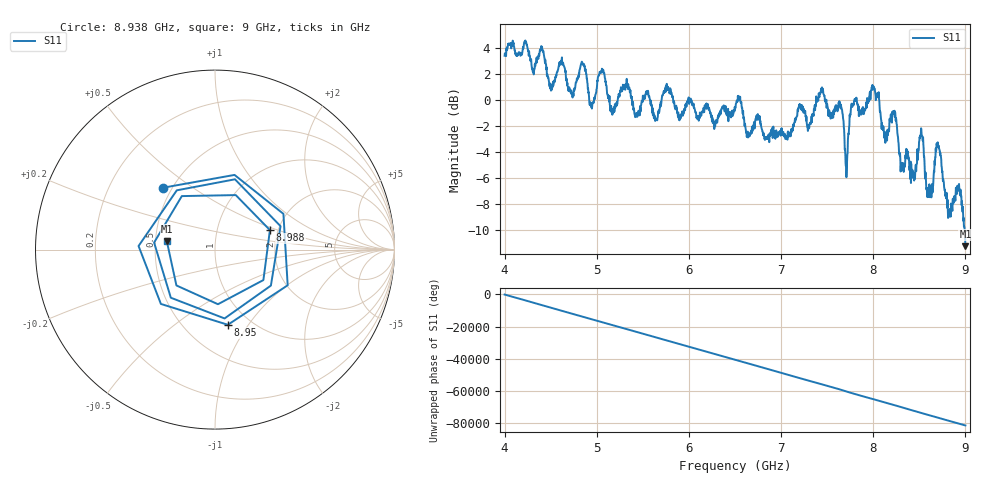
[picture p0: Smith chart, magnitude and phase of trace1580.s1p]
! Created with skrf 1.8.0 (http://scikit-rf.org).
# Hz S RI R 50.0
!freq ReS11 ImS11
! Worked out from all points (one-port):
!   1601 points, 4 GHz to 9 GHz, reference 50 ohm
!   lowest |S11| = -11.3 dB at 9 GHz (marker M1), VSWR 1.75, Z = 28.7 + j2.96 ohm
!   |S11| at or under -10 dB: 8.991498 GHz to end of sweep
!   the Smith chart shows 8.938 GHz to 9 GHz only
!   S11 on the Smith chart (normalised r, x): 8.938 GHz: 0.45, +0.39; 8.95 GHz: 0.79, -0.81; 8.988 GHz: 1.81, +0.44; 9 GHz: 0.57, +0.06
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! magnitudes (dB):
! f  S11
! 4 GHz  3.4
! 4.403 GHz  4.0
! 4.506 GHz  0.9
! 4.625 GHz  2.7
! 4.731 GHz  0.5
! 4.856 GHz  2.8
! 4.944 GHz  -0.3
! 5.053 GHz  2.1
! 5.166 GHz  -0.8
! 5.25 GHz  0.5
! 5.875 GHz  -1.0
! 6.5 GHz  -0.8
! 7.125 GHz  -2.4
! 7.447 GHz  0.9
! 7.644 GHz  -0.3
! 7.709 GHz  -6.0
! 7.75 GHz  -1.1
! 8 GHz  0.9
! 8.375 GHz  -4.1
! 8.441 GHz  -5.7
! 8.522 GHz  -2.2
! 8.609 GHz  -6.5
! 8.703 GHz  -3.4
! 8.825 GHz  -8.5
! 8.938 GHz  -6.9
! 8.95 GHz  -7.4
! 8.988 GHz  -9.8
! 9 GHz  -11.3
